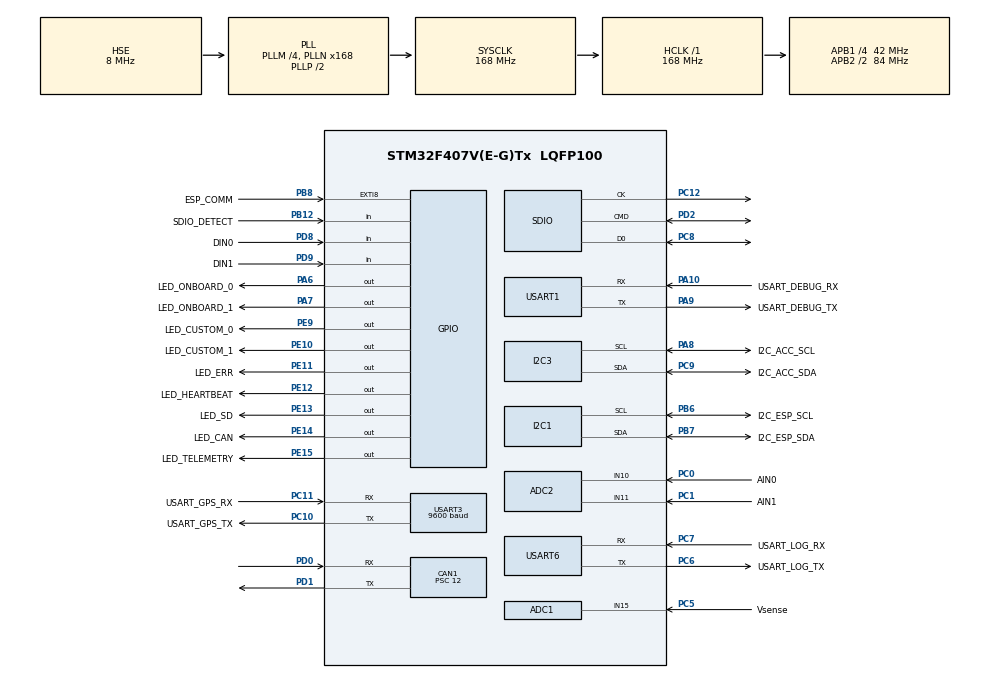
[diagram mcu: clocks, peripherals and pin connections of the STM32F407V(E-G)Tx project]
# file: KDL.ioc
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ADC1.Channel-0\#ChannelRegularConversion=ADC_CHANNEL_TEMPSENSOR
ADC1.Channel-1\#ChannelRegularConversion=ADC_CHANNEL_15
ADC1.ClockPrescaler=ADC_CLOCK_SYNC_PCLK_DIV4
ADC1.DMAContinuousRequests=ENABLE
ADC1.DiscontinuousConvMode=DISABLE
ADC1.EOCSelection=ADC_EOC_SEQ_CONV
ADC1.NbrOfConversion=2
ADC1.NbrOfConversionFlag=1
ADC1.Rank-0\#ChannelRegularConversion=1
ADC1.Rank-1\#ChannelRegularConversion=2
ADC1.SamplingTime-0\#ChannelRegularConversion=ADC_SAMPLETIME_15CYCLES
ADC1.SamplingTime-1\#ChannelRegularConversion=ADC_SAMPLETIME_15CYCLES
ADC1.ScanConvMode=ENABLE
ADC1.master=1
ADC2.Channel-4\#ChannelRegularConversion=ADC_CHANNEL_10
ADC2.Channel-5\#ChannelRegularConversion=ADC_CHANNEL_11
ADC2.ClockPrescaler=ADC_CLOCK_SYNC_PCLK_DIV4
ADC2.DMAContinuousRequests=ENABLE
ADC2.DiscontinuousConvMode=DISABLE
ADC2.EOCSelection=ADC_EOC_SEQ_CONV
ADC2.NbrOfConversion=2
ADC2.NbrOfConversionFlag=1
ADC2.Rank-4\#ChannelRegularConversion=1
ADC2.Rank-5\#ChannelRegularConversion=2
ADC2.SamplingTime-4\#ChannelRegularConversion=ADC_SAMPLETIME_15CYCLES
ADC2.SamplingTime-5\#ChannelRegularConversion=ADC_SAMPLETIME_15CYCLES
CAN1.AWUM=ENABLE
CAN1.BS1=CAN_BS1_11TQ
CAN1.BS2=CAN_BS2_2TQ
CAN1.CalculateBaudRate=250000
CAN1.CalculateTimeBit=4000
CAN1.CalculateTimeQuantum=285.7142857142857
CAN1.Prescaler=12
Dma.ADC1.4.Direction=DMA_PERIPH_TO_MEMORY
Dma.ADC1.4.FIFOMode=DMA_FIFOMODE_DISABLE
Dma.ADC1.4.Instance=DMA2_Stream0
Dma.ADC1.4.MemDataAlignment=DMA_MDATAALIGN_WORD
Dma.ADC1.4.MemInc=DMA_MINC_ENABLE
Dma.ADC1.4.Mode=DMA_CIRCULAR
Dma.ADC1.4.PeriphDataAlignment=DMA_PDATAALIGN_WORD
Dma.ADC1.4.PeriphInc=DMA_PINC_DISABLE
Dma.ADC1.4.Priority=DMA_PRIORITY_LOW
Dma.ADC2.3.Direction=DMA_PERIPH_TO_MEMORY
Dma.ADC2.3.FIFOMode=DMA_FIFOMODE_DISABLE
Dma.ADC2.3.Instance=DMA2_Stream2
Dma.ADC2.3.MemDataAlignment=DMA_MDATAALIGN_WORD
Dma.ADC2.3.MemInc=DMA_MINC_ENABLE
Dma.ADC2.3.Mode=DMA_CIRCULAR
Dma.ADC2.3.PeriphDataAlignment=DMA_PDATAALIGN_WORD
Dma.ADC2.3.PeriphInc=DMA_PINC_DISABLE
Dma.ADC2.3.Priority=DMA_PRIORITY_LOW
Dma.Request0=SDIO_RX
Dma.Request1=SDIO_TX
Dma.Request2=USART3_RX
Dma.Request3=ADC2
Dma.Request4=ADC1
Dma.SDIO_RX.0.Direction=DMA_PERIPH_TO_MEMORY
Dma.SDIO_RX.0.FIFOMode=DMA_FIFOMODE_ENABLE
Dma.SDIO_RX.0.FIFOThreshold=DMA_FIFO_THRESHOLD_FULL
Dma.SDIO_RX.0.Instance=DMA2_Stream6
Dma.SDIO_RX.0.MemBurst=DMA_MBURST_INC4
Dma.SDIO_RX.0.MemDataAlignment=DMA_MDATAALIGN_WORD
Dma.SDIO_RX.0.MemInc=DMA_MINC_ENABLE
Dma.SDIO_RX.0.Mode=DMA_PFCTRL
Dma.SDIO_RX.0.PeriphBurst=DMA_PBURST_INC4
Dma.SDIO_RX.0.PeriphDataAlignment=DMA_PDATAALIGN_WORD
Dma.SDIO_RX.0.PeriphInc=DMA_PINC_DISABLE
Dma.SDIO_RX.0.Priority=DMA_PRIORITY_LOW
Dma.SDIO_TX.1.Direction=DMA_MEMORY_TO_PERIPH
Dma.SDIO_TX.1.FIFOMode=DMA_FIFOMODE_ENABLE
Dma.SDIO_TX.1.FIFOThreshold=DMA_FIFO_THRESHOLD_FULL
Dma.SDIO_TX.1.Instance=DMA2_Stream3
Dma.SDIO_TX.1.MemBurst=DMA_MBURST_INC4
Dma.SDIO_TX.1.MemDataAlignment=DMA_MDATAALIGN_WORD
Dma.SDIO_TX.1.MemInc=DMA_MINC_ENABLE
Dma.SDIO_TX.1.Mode=DMA_PFCTRL
Dma.SDIO_TX.1.PeriphBurst=DMA_PBURST_INC4
Dma.SDIO_TX.1.PeriphDataAlignment=DMA_PDATAALIGN_WORD
Dma.SDIO_TX.1.PeriphInc=DMA_PINC_DISABLE
Dma.SDIO_TX.1.Priority=DMA_PRIORITY_LOW
Dma.USART3_RX.2.Direction=DMA_PERIPH_TO_MEMORY
Dma.USART3_RX.2.FIFOMode=DMA_FIFOMODE_DISABLE
Dma.USART3_RX.2.Instance=DMA1_Stream1
Dma.USART3_RX.2.MemDataAlignment=DMA_MDATAALIGN_BYTE
Dma.USART3_RX.2.MemInc=DMA_MINC_ENABLE
Dma.USART3_RX.2.Mode=DMA_NORMAL
Dma.USART3_RX.2.PeriphDataAlignment=DMA_PDATAALIGN_BYTE
Dma.USART3_RX.2.PeriphInc=DMA_PINC_DISABLE
Dma.USART3_RX.2.Priority=DMA_PRIORITY_LOW
FATFS.BSP.number=1
FATFS.USE_DMA_CODE_SD=1
FATFS._MAX_SS=4096
FATFS._USE_LFN=1
FATFS0.BSP.STBoard=false
FATFS0.BSP.api=Unknown
FATFS0.BSP.instance=PB12
FATFS0.BSP.ip=GPIO
FATFS0.BSP.mode=Input
FATFS0.BSP.name=Detect_SDIO
FATFS0.BSP.solution=PB12
I2C1.I2C_Mode=I2C_Fast
I2C3.I2C_Mode=I2C_Fast
Mcu.Family=STM32F4
Mcu.Name=STM32F407V(E-G)Tx
Mcu.Package=LQFP100
NVIC.ADC_IRQn=true\:0\:0\:false\:false\:true\:true\:true\:true
NVIC.CAN1_RX0_IRQn=true\:0\:0\:false\:false\:true\:true\:true\:true
NVIC.CAN1_RX1_IRQn=true\:0\:0\:false\:false\:true\:true\:true\:true
NVIC.CAN1_SCE_IRQn=true\:0\:0\:false\:false\:true\:true\:true\:true
NVIC.CAN1_TX_IRQn=true\:0\:0\:false\:false\:true\:true\:true\:true
NVIC.DMA1_Stream1_IRQn=true\:0\:0\:false\:false\:true\:false\:true\:true
NVIC.DMA2_Stream0_IRQn=true\:0\:0\:false\:false\:true\:false\:true\:true
NVIC.DMA2_Stream2_IRQn=true\:0\:0\:false\:false\:true\:false\:true\:true
NVIC.DMA2_Stream3_IRQn=true\:0\:0\:false\:false\:true\:false\:true\:true
NVIC.DMA2_Stream6_IRQn=true\:0\:0\:false\:false\:true\:false\:true\:true
NVIC.EXTI9_5_IRQn=true\:0\:0\:false\:false\:true\:true\:true\:true
NVIC.I2C1_EV_IRQn=true\:0\:0\:false\:false\:true\:true\:true\:true
NVIC.I2C3_EV_IRQn=true\:0\:0\:false\:false\:true\:true\:true\:true
NVIC.PriorityGroup=NVIC_PRIORITYGROUP_4
NVIC.SDIO_IRQn=true\:0\:0\:false\:false\:true\:true\:true\:true
NVIC.TIM1_UP_TIM10_IRQn=true\:0\:0\:false\:false\:true\:true\:true\:true
NVIC.USART1_IRQn=true\:0\:0\:false\:false\:true\:true\:true\:true
NVIC.USART3_IRQn=true\:0\:0\:false\:false\:true\:true\:true\:true
NVIC.USART6_IRQn=true\:0\:0\:false\:false\:true\:true\:true\:true
PA10.GPIO_Label=USART_DEBUG_RX
PA10.Mode=Asynchronous
PA10.Signal=USART1_RX
PA6.GPIO_Label=LED_ONBOARD_0
PA6.GPIO_PuPd=GPIO_PULLDOWN
PA6.Signal=GPIO_Output
PA7.GPIO_Label=LED_ONBOARD_1
PA7.GPIO_PuPd=GPIO_PULLDOWN
PA7.Signal=GPIO_Output
PA8.GPIO_Label=I2C_ACC_SCL
PA8.Mode=I2C
PA8.Signal=I2C3_SCL
PA9.GPIO_Label=USART_DEBUG_TX
PA9.Mode=Asynchronous
PA9.Signal=USART1_TX
PB12.GPIO_Label=SDIO_DETECT
PB12.GPIO_PuPd=GPIO_PULLDOWN
PB12.Signal=GPIO_Input
PB6.GPIO_Label=I2C_ESP_SCL
PB6.Mode=I2C
PB6.Signal=I2C1_SCL
PB7.GPIO_Label=I2C_ESP_SDA
PB7.Mode=I2C
PB7.Signal=I2C1_SDA
PB8.GPIO_Label=ESP_COMM
PB8.GPIO_ModeDefaultEXTI=GPIO_MODE_IT_RISING_FALLING
PB8.Signal=GPXTI8
PC0.GPIO_Label=AIN0
PC0.Signal=ADCx_IN10
PC1.GPIO_Label=AIN1
PC1.Signal=ADCx_IN11
PC10.GPIO_Label=USART_GPS_TX
PC10.Mode=Asynchronous
PC10.Signal=USART3_TX
PC11.GPIO_Label=USART_GPS_RX
PC11.Mode=Asynchronous
PC11.Signal=USART3_RX
PC12.Mode=SD_1_bit
PC12.Signal=SDIO_CK
PC14-OSC32_IN.Mode=LSE-External-Oscillator
PC14-OSC32_IN.Signal=RCC_OSC32_IN
PC15-OSC32_OUT.Mode=LSE-External-Oscillator
PC15-OSC32_OUT.Signal=RCC_OSC32_OUT
PC5.GPIO_Label=Vsense
PC5.Signal=ADCx_IN15
PC6.GPIO_Label=USART_LOG_TX
PC6.Mode=Asynchronous
PC6.Signal=USART6_TX
PC7.GPIO_Label=USART_LOG_RX
PC7.Mode=Asynchronous
PC7.Signal=USART6_RX
PC8.GPIO_PuPd=GPIO_PULLUP
PC8.Mode=SD_1_bit
PC8.Signal=SDIO_D0
PC9.GPIO_Label=I2C_ACC_SDA
PC9.Mode=I2C
PC9.Signal=I2C3_SDA
PD0.Mode=CAN_Activate
PD0.Signal=CAN1_RX
PD1.Mode=CAN_Activate
PD1.Signal=CAN1_TX
PD2.GPIO_PuPd=GPIO_PULLUP
PD2.Mode=SD_1_bit
PD2.Signal=SDIO_CMD
PD8.GPIO_Label=DIN0
PD8.GPIO_PuPd=GPIO_PULLDOWN
PD8.Signal=GPIO_Input
PD9.GPIO_Label=DIN1
PD9.GPIO_PuPd=GPIO_PULLDOWN
PD9.Signal=GPIO_Input
PE10.GPIO_Label=LED_CUSTOM_1
PE10.Signal=GPIO_Output
PE11.GPIO_Label=LED_ERR
PE11.Signal=GPIO_Output
PE12.GPIO_Label=LED_HEARTBEAT
PE12.Signal=GPIO_Output
PE13.GPIO_Label=LED_SD
PE13.Signal=GPIO_Output
PE14.GPIO_Label=LED_CAN
PE14.Signal=GPIO_Output
PE15.GPIO_Label=LED_TELEMETRY
PE15.Signal=GPIO_Output
PE9.GPIO_Label=LED_CUSTOM_0
PE9.Signal=GPIO_Output
PH0-OSC_IN.Mode=HSE-External-Oscillator
PH0-OSC_IN.Signal=RCC_OSC_IN
PH1-OSC_OUT.Mode=HSE-External-Oscillator
PH1-OSC_OUT.Signal=RCC_OSC_OUT
ProjectManager.HeapSize=0x200
ProjectManager.StackSize=0x400
ProjectManager.TargetToolchain=STM32CubeIDE
RCC.48MHZClocksFreq_Value=48000000
RCC.AHBFreq_Value=168000000
RCC.APB1CLKDivider=RCC_HCLK_DIV4
RCC.APB1Freq_Value=42000000
RCC.APB1TimFreq_Value=84000000
RCC.APB2CLKDivider=RCC_HCLK_DIV2
RCC.APB2Freq_Value=84000000
RCC.APB2TimFreq_Value=168000000
RCC.CortexFreq_Value=168000000
RCC.EnbaleCSS=true
RCC.HCLKFreq_Value=168000000
RCC.HSE_VALUE=8000000
RCC.HSI_VALUE=16000000
RCC.PLLM=4
RCC.PLLN=168
RCC.PLLQ=7
RCC.PLLSourceVirtual=RCC_PLLSOURCE_HSE
RCC.RCC_RTC_Clock_Source=RCC_RTCCLKSOURCE_LSE
RCC.RCC_RTC_Clock_SourceVirtual=RCC_RTCCLKSOURCE_LSE
RCC.SYSCLKFreq_VALUE=168000000
RCC.SYSCLKSource=RCC_SYSCLKSOURCE_PLLCLK
RCC.VCOOutputFreq_Value=336000000
RTC.Date=12
RTC.Month=RTC_MONTH_MAY
RTC.WeekDay=RTC_WEEKDAY_FRIDAY
RTC.Year=23
SDIO.ClockDiv=12
SDIO.HardwareFlowControl=SDIO_HARDWARE_FLOW_CONTROL_ENABLE
SH.ADCx_IN10.0=ADC2_IN10,IN10
SH.ADCx_IN11.0=ADC2_IN11,IN11
SH.ADCx_IN15.0=ADC1_IN15,IN15
TIM1.Period=20000-1
TIM1.Prescaler=840-1
USART1.VirtualMode=VM_ASYNC
USART3.BaudRate=9600
USART3.VirtualMode=VM_ASYNC
USART6.VirtualMode=VM_ASYNC
VP_ADC1_TempSens_Input.Mode=IN-TempSens
VP_FATFS_VS_SDIO.Mode=SDIO
VP_RTC_VS_RTC_Activate.Mode=RTC_Enabled
VP_RTC_VS_RTC_Calendar.Mode=RTC_Calendar
VP_TIM1_VS_ClockSourceINT.Mode=Internal
board=custom

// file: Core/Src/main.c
/* USER CODE BEGIN Header */
/**
  ******************************************************************************
  * @file           : main.c
  * @Copyright		: luftaquila
  * @Author         : LCH, OMY, KH
  ******************************************************************************
  * @attention
  *
  * KDL STM32 firmware.
  *
  * KUST, 24KSAE
  * Kookmin University, Korea.
  ******************************************************************************
  */
/* USER CODE END Header */
#include "main.h"
#include "adc.h"
#include "can.h"
#include "dma.h"
#include "fatfs.h"
#include "i2c.h"
#include "rtc.h"
#include "sdio.h"
#include "tim.h"
#include "usart.h"
#include "gpio.h"

/* USER CODE BEGIN Includes */
#include "logger.h"
#include "types.h"
#include "ringbuffer.h"
/* USER CODE END Includes */

/* USER CODE BEGIN PD */
extern int SYS_LOG(LOG_LEVEL level, LOG_SOURCE source, int key);

/* USER CODE END PD */

/* USER CODE BEGIN PM */
extern uint32_t to_uint(uint8_t *str, char garbage);
extern uint32_t drop_point(uint8_t *str);
/* USER CODE END PM */

/* USER CODE BEGIN PV */
#define ENABLE_SERIAL
#define ENABLE_TELEMETRY
#define ENABLE_MONITOR_CAN
#define ENABLE_MONITOR_ANALOG
#define ENABLE_MONITOR_ACCELEROMETER
#define ENABLE_MONITOR_GPS
#define ENABLE_MONITOR_DIGITAL
// system log
FIL logfile;
LOG syslog;

// system state
SYSTEM_STATE sys_state;

// timer alarm flag
uint32_t timer_flag = 0;

// rtc buffer
uint8_t rtc[25]; // YYYY-MM-DD-HH-MM-SS

// SD card write buffer
ring_buffer_t SD_BUFFER;
uint8_t SD_BUFFER_ARR[1 << 12]; // 4KB

// serial log output buffer
#ifdef ENABLE_SERIAL
uint32_t serial_flag = 0;
ring_buffer_t SERIAL_BUFFER;
uint8_t SERIAL_BUFFER_ARR[1 << 14]; // 16KB
#endif

// telemetry transmission flag and buffer
#ifdef ENABLE_TELEMETRY
uint32_t telemetry_flag = 0;
uint32_t handshake_flag = 0;
ring_buffer_t TELEMETRY_BUFFER;
uint8_t TELEMETRY_BUFFER_ARR[1 << 14]; // 16KB
#endif

// CAN RX header and buffer
#ifdef ENABLE_MONITOR_CAN
CAN_RxHeaderTypeDef can_rx_header;
uint8_t can_rx_data[8];
#endif

// adc conversion buffers
uint32_t adc_flag = 0;
uint32_t adc_sys_value[2] = { 0, };
#ifdef ENABLE_MONITOR_ANALOG
uint32_t adc_ain_value[ADC_COUNT] = { 0, };
#endif

// accelerometer receive buffer
#ifdef ENABLE_MONITOR_ACCELEROMETER
uint32_t accelerometer_flag = false;
uint8_t accelerometer_value[6];
#endif

// GPS receive flag and buffer
#ifdef ENABLE_MONITOR_GPS
uint32_t gps_flag = false;
uint8_t gps_data[1 << 7]; // 128B
#endif
/* USER CODE END PV */

void SystemClock_Config(void);
/* USER CODE BEGIN PFP */
__attribute__((weak)) void _close(void){}
__attribute__((weak)) void _lseek(void){}
__attribute__((weak)) void _read(void){}

void GPS_PARSE(void);
/* USER CODE END PFP */

/* USER CODE BEGIN 0 */
int _write(int file, uint8_t *ptr, int len) {
  HAL_UART_Transmit(UART_DEBUG, (uint8_t *)ptr, (uint16_t)len, 30);
  return (len);
}
/* USER CODE END 0 */

int main(void)
{

  /* MCU Configuration--------------------------------------------------------*/

  /* Reset of all peripherals, Initializes the Flash interface and the Systick. */
  HAL_Init();

  /* Configure the system clock */
  SystemClock_Config();

  /* Initialize all configured peripherals */
  MX_GPIO_Init();
  MX_DMA_Init();
  MX_ADC1_Init();
  MX_ADC2_Init();
  MX_RTC_Init();
  MX_CAN1_Init();
  MX_I2C1_Init();
  MX_I2C3_Init();
  MX_SDIO_SD_Init();
  MX_USART1_UART_Init();
  MX_USART3_UART_Init();
  MX_FATFS_Init();
  MX_USART6_UART_Init();
  MX_TIM1_Init();
  /* USER CODE BEGIN 2 */

  /********** CORE SYSTEM STARTUP **********/
  int ret;
  DEBUG_MSG("[%8lu] [INF] core system is in startup\r\n", HAL_GetTick());

  /********** RTC boot time check **********/
  DATETIME boot;
  RTC_READ(&boot);
  DEBUG_MSG("[%8lu] [INF] RTC time is 20%02d-%02d-%02d %02d:%02d:%02d\r\n", HAL_GetTick(), boot.year, boot.month, boot.date, boot.hour, boot.minute, boot.second);

  /********** SD card initialization **********/
  ret = SD_SETUP(&boot);

  if (ret == SYS_OK) {
    sys_state.SD = true;
    HAL_GPIO_WritePin(GPIOE, LED_SD_Pin, GPIO_PIN_SET);

    SYS_LOG(LOG_INFO, SYS, SYS_SD_INIT);

    DEBUG_MSG("[%8lu] [ OK] SD card setup\r\n", HAL_GetTick());
  } else {
    sys_state.SD = false;
    HAL_GPIO_WritePin(GPIOE, LED_SD_Pin, GPIO_PIN_RESET);

    syslog.value[0] = (uint8_t)ret;
    SYS_LOG(LOG_ERROR, SYS, SYS_SD_INIT);

    DEBUG_MSG("[%8lu] [ERR] SD card setup failed: %d\r\n", HAL_GetTick(), ret);
  }

  /********** core system initialization **********/
  HAL_GPIO_WritePin(GPIOA, LED_ONBOARD_0_Pin, GPIO_PIN_RESET);
  HAL_GPIO_WritePin(GPIOA, LED_ONBOARD_1_Pin, GPIO_PIN_RESET);
  HAL_GPIO_WritePin(GPIOE, LED_CUSTOM_0_Pin, GPIO_PIN_RESET);
  HAL_GPIO_WritePin(GPIOE, LED_CUSTOM_1_Pin, GPIO_PIN_RESET);

  sys_state.ERR = false;
  sys_state.CAN = false;
  sys_state.TELEMETRY = false;

  HAL_GPIO_WritePin(GPIOE, LED_ERR_Pin, GPIO_PIN_RESET);
  HAL_GPIO_WritePin(GPIOE, LED_HEARTBEAT_Pin, GPIO_PIN_SET);
  HAL_GPIO_WritePin(GPIOE, LED_CAN_Pin, GPIO_PIN_RESET);
  HAL_GPIO_WritePin(GPIOE, LED_TELEMETRY_Pin, GPIO_PIN_RESET);

  // RTC time sync by UART
  HAL_UART_Receive_IT(UART_DEBUG, rtc, 20);

  SYS_LOG(LOG_INFO, SYS, SYS_CORE_INIT);

  DEBUG_MSG("[%8lu] [ OK] core system setup\r\n", HAL_GetTick());

  /********** UART log output port initialization **********/
#ifdef ENABLE_SERIAL
  ret = SERIAL_SETUP();

  if (ret == SYS_OK) {
    SYS_LOG(LOG_INFO, SYS, SYS_SERIAL_INIT);

    DEBUG_MSG("[%8lu] [ OK] serial log output port setup\r\n", HAL_GetTick());
  } else {
    syslog.value[0] = (uint8_t)ret;
    SYS_LOG(LOG_ERROR, SYS, SYS_SERIAL_INIT);

    DEBUG_MSG("[%8lu] [ERR] serial log output port setup failed: %d\r\n", HAL_GetTick(), ret);
  }
#endif

  /********** ESP32 telemetry initialization **********/
#ifdef ENABLE_TELEMETRY
  ret = TELEMETRY_SETUP();

  if (ret == SYS_OK) {
    sys_state.TELEMETRY = true;

    // flash 5 times
    HAL_GPIO_WritePin(GPIOE, LED_TELEMETRY_Pin, GPIO_PIN_SET);
    HAL_Delay(100);
    HAL_GPIO_WritePin(GPIOE, LED_TELEMETRY_Pin, GPIO_PIN_RESET);
    HAL_Delay(100);

    HAL_GPIO_WritePin(GPIOE, LED_TELEMETRY_Pin, GPIO_PIN_SET);
    HAL_Delay(100);
    HAL_GPIO_WritePin(GPIOE, LED_TELEMETRY_Pin, GPIO_PIN_RESET);
    HAL_Delay(100);

    HAL_GPIO_WritePin(GPIOE, LED_TELEMETRY_Pin, GPIO_PIN_SET);
    HAL_Delay(100);
    HAL_GPIO_WritePin(GPIOE, LED_TELEMETRY_Pin, GPIO_PIN_RESET);
    HAL_Delay(100);

    HAL_GPIO_WritePin(GPIOE, LED_TELEMETRY_Pin, GPIO_PIN_SET);
    HAL_Delay(100);
    HAL_GPIO_WritePin(GPIOE, LED_TELEMETRY_Pin, GPIO_PIN_RESET);
    HAL_Delay(100);

    HAL_GPIO_WritePin(GPIOE, LED_TELEMETRY_Pin, GPIO_PIN_SET);
    HAL_Delay(100);
    HAL_GPIO_WritePin(GPIOE, LED_TELEMETRY_Pin, GPIO_PIN_RESET);

    SYS_LOG(LOG_INFO, SYS, SYS_TELEMETRY_INIT);

    DEBUG_MSG("[%8lu] [ OK] TELEMETRY setup\r\n", HAL_GetTick());
  } else {
    sys_state.TELEMETRY = false;
    HAL_GPIO_WritePin(GPIOE, LED_TELEMETRY_Pin, GPIO_PIN_RESET);

    syslog.value[0] = (uint8_t)ret;
    SYS_LOG(LOG_ERROR, SYS, SYS_TELEMETRY_INIT);

    DEBUG_MSG("[%8lu] [ERR] TELEMETRY setup failed: %d\r\n", HAL_GetTick(), ret);
  }
#endif

  /********** CAN transceiver initialization **********/
#ifdef ENABLE_MONITOR_CAN
  ret = CAN_SETUP();

  if (ret == SYS_OK) {
    sys_state.CAN = true;
    HAL_GPIO_WritePin(GPIOE, LED_CAN_Pin, GPIO_PIN_SET);

    SYS_LOG(LOG_INFO, SYS, CAN_INIT);

    DEBUG_MSG("[%8lu] [ OK] CAN transceiver setup\r\n", HAL_GetTick());
  } else {
    sys_state.CAN = false;
    HAL_GPIO_WritePin(GPIOE, LED_CAN_Pin, GPIO_PIN_RESET);

    syslog.value[0] = (uint8_t)ret;
    SYS_LOG(LOG_ERROR, SYS, CAN_INIT);

    DEBUG_MSG("[%8lu] [ERR] CAN transceiver setup failed: %d\r\n", HAL_GetTick(), ret);
  }
#endif

  /********** digital input initialization **********/

#ifdef ENABLE_MONITOR_DIGITAL
  ret = DIGITAL_SETUP();

  if (ret == SYS_OK) {
    SYS_LOG(LOG_INFO, SYS, DIGITAL_INIT);

    DEBUG_MSG("[%8lu] [ OK] digital input setup\r\n", HAL_GetTick());
  } else {
    syslog.value[0] = (uint8_t)ret;
    SYS_LOG(LOG_ERROR, SYS, DIGITAL_INIT);

    DEBUG_MSG("[%8lu] [ERR] digital input setup failed: %d\r\n", HAL_GetTick(), ret);
  }
#endif

  /********** analog input initialization **********/
#ifdef ENABLE_MONITOR_ANALOG
  ret = ANALOG_SETUP();

  if (ret == SYS_OK) {
    SYS_LOG(LOG_INFO, SYS, ANALOG_INIT);

    DEBUG_MSG("[%8lu] [ OK] analog input setup\r\n", HAL_GetTick());
  } else {
    syslog.value[0] = (uint8_t)ret;
    SYS_LOG(LOG_ERROR, SYS, ANALOG_INIT);

    DEBUG_MSG("[%8lu] [ERR] analog input setup failed: %d\r\n", HAL_GetTick(), ret);
  }
#endif

  /********** ADXL345 accelerometer initialization **********/
#ifdef ENABLE_MONITOR_ACCELEROMETER
  ret = ACCELEROMETER_SETUP();

  if (ret == SYS_OK) {
    SYS_LOG(LOG_INFO, SYS, ACCELEROMETER_INIT);

    DEBUG_MSG("[%8lu] [ OK] accelerometer setup\r\n", HAL_GetTick());
  } else {
    syslog.value[0] = (uint8_t)ret;
    SYS_LOG(LOG_ERROR, SYS, ACCELEROMETER_INIT);

    DEBUG_MSG("[%8lu] [ERR] accelerometer setup failed: %d\r\n", HAL_GetTick(), ret);
  }
#endif

  /********** NEO-7M GPS initialization **********/
#ifdef ENABLE_MONITOR_GPS
  ret = GPS_SETUP();

  if (ret == SYS_OK) {
    SYS_LOG(LOG_INFO, SYS, GPS_INIT);

    DEBUG_MSG("[%8lu] [ OK] GPS setup\r\n", HAL_GetTick());
  } else {
    syslog.value[0] = (uint8_t)ret;
    SYS_LOG(LOG_ERROR, SYS, GPS_INIT);

    DEBUG_MSG("[%8lu] [ERR] GPS setup failed: %d\r\n", HAL_GetTick(), ret);
  }
#endif

  /********** CORE SYSTEM STARTUP COMPLETE **********/
  SYS_LOG(LOG_INFO, SYS, SYS_READY);
  DEBUG_MSG("[%8lu] [ OK] CORE SYSTEM STARTUP COMPLETE\r\n", HAL_GetTick());

  HAL_TIM_Base_Start_IT(&htim1); // start 100ms periodic timer

  /* USER CODE END 2 */

  /* Infinite loop */
  /* USER CODE BEGIN WHILE */
  while (1) {
    /* check flags */
    // system monitor: core temperature and input voltage
    if (adc_flag & (1 << FLAG_ADC_SYS)) {
      adc_flag &= ~(1 << FLAG_ADC_SYS);

      *(uint16_t *)(syslog.value + 0) = (uint16_t)adc_sys_value[0];
      *(uint16_t *)(syslog.value + 2) = (uint16_t)adc_sys_value[1];
      SYS_LOG(LOG_INFO, ANALOG, ANALOG_SYS);
    }

#ifdef ENABLE_MONITOR_ANALOG
    if (adc_flag & (1 << FLAG_ADC_AIN)) {
      adc_flag &= ~(1 << FLAG_ADC_AIN);

      *(uint16_t *)(syslog.value + 0) = (uint16_t)adc_ain_value[0];
      *(uint16_t *)(syslog.value + 2) = (uint16_t)adc_ain_value[1];
      *(uint16_t *)(syslog.value + 4) = (uint16_t)adc_ain_value[2];
      *(uint16_t *)(syslog.value + 6) = (uint16_t)adc_ain_value[3];
      SYS_LOG(LOG_INFO, ANALOG, ANALOG_DATA);
    }
#endif

#ifdef ENABLE_MONITOR_ACCELEROMETER
    if (accelerometer_flag == true) {
      accelerometer_flag = false;

      *(uint64_t *)syslog.value = *(uint64_t *)accelerometer_value;
      SYS_LOG(LOG_INFO, ACCELEROMETER, ACCELEROMETER_DATA);
    }
#endif

#ifdef ENABLE_MONITOR_GPS
    if (gps_flag == true) {
      gps_flag = false;
      GPS_PARSE();
    }
#endif

    /* handle recorded LOGs */
    SD_WRITE();

#ifdef ENABLE_SERIAL
    SERIAL_TRANSMIT_LOG();
#endif

#ifdef ENABLE_TELEMETRY
    TELEMETRY_TRANSMIT_LOG();
#endif

    /* check timer flags */
    if (timer_flag & (1 << FLAG_TIMER_100ms)) {
      timer_flag &= ~(1 << FLAG_TIMER_100ms);
      TIMER_100ms();
    }

    if (timer_flag & (1 << FLAG_TIMER_1s)) {
      timer_flag &= ~(1 << FLAG_TIMER_1s);
      TIMER_1s();
    }
    /* USER CODE END WHILE */

  }
}

void SystemClock_Config(void)
{
  RCC_OscInitTypeDef RCC_OscInitStruct = {0};
  RCC_ClkInitTypeDef RCC_ClkInitStruct = {0};

  /** Configure the main internal regulator output voltage
  */
  __HAL_RCC_PWR_CLK_ENABLE();
  __HAL_PWR_VOLTAGESCALING_CONFIG(PWR_REGULATOR_VOLTAGE_SCALE1);

  /** Initializes the RCC Oscillators according to the specified parameters
  * in the RCC_OscInitTypeDef structure.
  */
  RCC_OscInitStruct.OscillatorType = RCC_OSCILLATORTYPE_HSE|RCC_OSCILLATORTYPE_LSE;
  RCC_OscInitStruct.HSEState = RCC_HSE_ON;
  RCC_OscInitStruct.LSEState = RCC_LSE_ON;
  RCC_OscInitStruct.PLL.PLLState = RCC_PLL_ON;
  RCC_OscInitStruct.PLL.PLLSource = RCC_PLLSOURCE_HSE;
  RCC_OscInitStruct.PLL.PLLM = 4;
  RCC_OscInitStruct.PLL.PLLN = 168;
  RCC_OscInitStruct.PLL.PLLP = RCC_PLLP_DIV2;
  RCC_OscInitStruct.PLL.PLLQ = 7;
  if (HAL_RCC_OscConfig(&RCC_OscInitStruct) != HAL_OK)
  {
    Error_Handler();
  }

  /** Initializes the CPU, AHB and APB buses clocks
  */
  RCC_ClkInitStruct.ClockType = RCC_CLOCKTYPE_HCLK|RCC_CLOCKTYPE_SYSCLK
                              |RCC_CLOCKTYPE_PCLK1|RCC_CLOCKTYPE_PCLK2;
  RCC_ClkInitStruct.SYSCLKSource = RCC_SYSCLKSOURCE_PLLCLK;
  RCC_ClkInitStruct.AHBCLKDivider = RCC_SYSCLK_DIV1;
  RCC_ClkInitStruct.APB1CLKDivider = RCC_HCLK_DIV4;
  RCC_ClkInitStruct.APB2CLKDivider = RCC_HCLK_DIV2;

  if (HAL_RCC_ClockConfig(&RCC_ClkInitStruct, FLASH_LATENCY_5) != HAL_OK)
  {
    Error_Handler();
  }

  /** Enables the Clock Security System
  */
  HAL_RCC_EnableCSS();
}

/* USER CODE BEGIN 4 */
void TIMER_100ms(void) {
#ifdef ENABLE_MONITOR_DIGITAL
  /* record digital input channels */
  syslog.value[0] = !HAL_GPIO_ReadPin(GPIOD, DIN0_Pin);
  syslog.value[1] = !HAL_GPIO_ReadPin(GPIOD, DIN1_Pin);
  syslog.value[2] = !HAL_GPIO_ReadPin(GPIOD, DIN2_Pin);
  syslog.value[3] = !HAL_GPIO_ReadPin(GPIOD, DIN3_Pin);
  syslog.value[4] = !HAL_GPIO_ReadPin(GPIOD, DIN4_Pin);
  syslog.value[5] = !HAL_GPIO_ReadPin(GPIOD, DIN5_Pin);
  syslog.value[6] = !HAL_GPIO_ReadPin(GPIOD, DIN6_Pin);
  syslog.value[7] = !HAL_GPIO_ReadPin(GPIOD, DIN7_Pin);
  SYS_LOG(LOG_INFO, DIGITAL, DIGITAL_DATA);
#endif

#ifdef ENABLE_MONITOR_ANALOG
  /* start analog input channels ADC conversion */
  if (!(adc_flag & (1 << FLAG_ADC_AIN))) {
    HAL_ADC_Start_DMA(&hadc2, adc_ain_value, 4);
  }
#endif

#ifdef ENABLE_MONITOR_ACCELEROMETER
  /* this takes 30ms EVERY TIME if the module is NOT CONNECTED */
  if (accelerometer_flag == false) {
    HAL_I2C_Mem_Read_IT(I2C_ACCELEROMETER, ACC_I2C_ADDR, 0x32, 1, accelerometer_value, 6);
  }
#endif
}

void TIMER_1s(void) {
  /* internal temperature and input voltage monitor */
  if (!(adc_flag & (1 << FLAG_ADC_SYS))) {
    HAL_ADC_Start_DMA(&hadc1, adc_sys_value, 2);
  }

  /* SD card sync*/
  SD_SYNC();

  /* heartbeat LED */
  static bool heartbeat = true;
  if (heartbeat) {
    HAL_GPIO_WritePin(GPIOE, LED_HEARTBEAT_Pin, GPIO_PIN_SET);
  } else {
    HAL_GPIO_WritePin(GPIOE, LED_HEARTBEAT_Pin, GPIO_PIN_RESET);
  }
  heartbeat = !heartbeat;
}

#ifdef ENABLE_MONITOR_GPS
void GPS_PARSE(void) {
  static NMEA_GPRMC gprmc;
  static GPS_COORD gps_coord;
  static GPS_VECTOR gps_vector;
  static GPS_DATETIME gps_datetime;

  if (!strncmp((char *)gps_data, "$GPRMC", 6)) {

    // parse NMEA GPRMC sentence
    gprmc.id = gps_data;
    gprmc.utc_time = FIND_AND_NUL(gprmc.id, gprmc.utc_time, ',');
    gprmc.status = FIND_AND_NUL(gprmc.utc_time, gprmc.status, ',');

    // proceed only if GPS fix is valid
    if (*gprmc.status == 'A') {
      gprmc.lat = FIND_AND_NUL(gprmc.status, gprmc.lat, ',');
      gprmc.north = FIND_AND_NUL(gprmc.lat, gprmc.north, ',');
      gprmc.lon = FIND_AND_NUL(gprmc.north, gprmc.lon, ',');
      gprmc.east = FIND_AND_NUL(gprmc.lon, gprmc.east, ',');
      gprmc.speed = FIND_AND_NUL(gprmc.east, gprmc.speed, ',');
      gprmc.course = FIND_AND_NUL(gprmc.speed, gprmc.course, ',');
      gprmc.utc_date = FIND_AND_NUL(gprmc.course, gprmc.utc_date, ',');
      gprmc.others = FIND_AND_NUL(gprmc.utc_date, gprmc.others, ',');

      // process GPS coordinates
      gps_coord.lat = to_uint(gprmc.lat, '.');
      gps_coord.lon = to_uint(gprmc.lon, '.');

      // process GPS speed and course
      gps_vector.speed = (int)(atof((char *)gprmc.speed) * 100);
      gps_vector.course = drop_point(gprmc.course);

      // process GPS datetime
      gps_datetime.utc_date = atoi((char *)gprmc.utc_date);
      gps_datetime.utc_time = drop_point(gprmc.utc_time);

      *(uint64_t *)syslog.value = *(uint64_t *)&gps_coord;
      SYS_LOG(LOG_INFO, GPS, GPS_POS);

      *(uint64_t *)syslog.value = *(uint64_t *)&gps_vector;
      SYS_LOG(LOG_INFO, GPS, GPS_VEC);

      *(uint64_t *)syslog.value = *(uint64_t *)&gps_datetime;
      SYS_LOG(LOG_INFO, GPS, GPS_TIME);
    }
  }
}
#endif
/* USER CODE END 4 */

void Error_Handler(void)
{
  __disable_irq();
  while (1) {
  }
}
